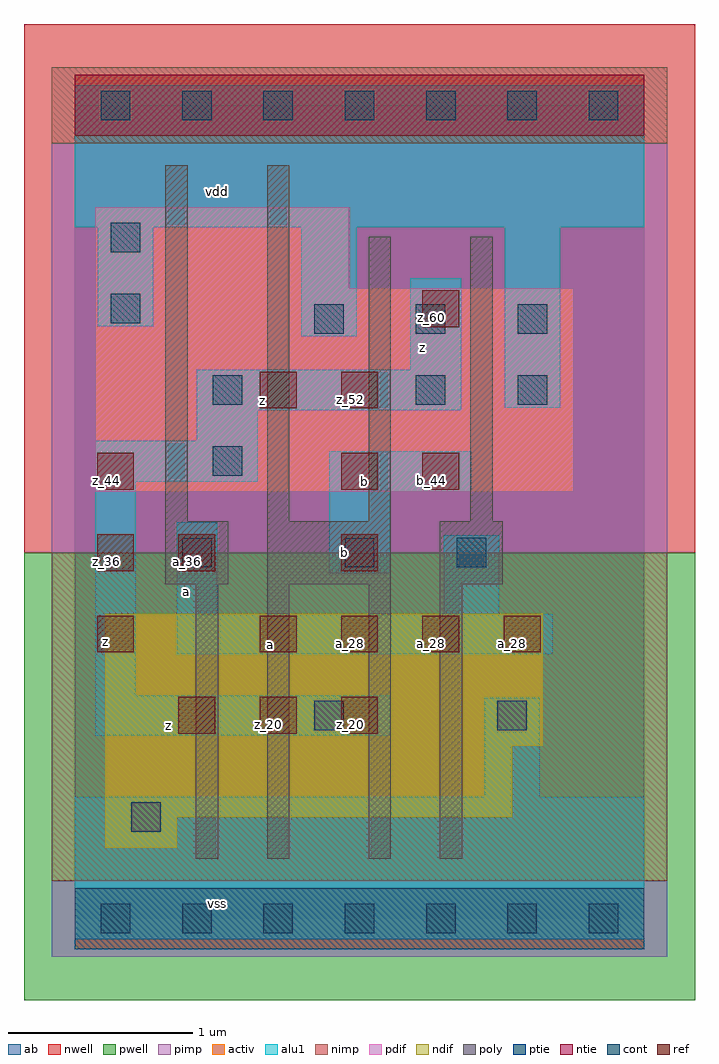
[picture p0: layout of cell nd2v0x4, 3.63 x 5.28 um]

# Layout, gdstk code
import gdstk
lib = gdstk.Library(unit=1e-6, precision=2.5e-09)
def R(c, l, rs):  # rectangles x0, y0, x1, y1
    for r in rs: c.add(gdstk.rectangle(r[:2], r[2:], *l))
def A(c, l, x, y, w, h, nx, ny, dx, dy):  # array of equal rectangles
    R(c, l, [(x+i*dx, y+j*dy, x+i*dx+w, y+j*dy+h) for i in range(nx) for j in range(ny)])
ndif = (3, 0)
pdif = (4, 0)
ntie = (5, 0)
ptie = (6, 0)
ref = (24, 0)
cont = (25, 0)
pwell = (41, 0)
nwell = (42, 0)
activ = (43, 0)
pimp = (44, 0)
nimp = (45, 0)
poly = (46, 0)
alu1 = (49, 0)
ab = (63, 0)

nd2v0x4 = lib.new_cell('nd2v0x4')
R(nd2v0x4, ndif, [(0.165,0.385,0.55,0.55), (0.165,0.55,2.365,0.935), (0.165,0.935,2.53,1.65)])
R(nd2v0x4, pdif, [(0.11,2.31,2.695,3.41), (0.11,3.41,1.485,3.85)])
R(nd2v0x4, ntie, [(0,4.235,3.08,4.565)])
R(nd2v0x4, ptie, [(0,-0.165,3.08,0.165)])
A(nd2v0x4, ref, 0.56, 1, 0.2, 0.2, 3, 1, 0.44, 0)
A(nd2v0x4, ref, 0.12, 1.44, 0.2, 0.2, 1, 3, 0, 0.44)
A(nd2v0x4, ref, 1, 1.44, 0.2, 0.2, 4, 1, 0.44, 0)
A(nd2v0x4, ref, 1.44, 1.88, 0.2, 0.2, 1, 3, 0, 0.44)
R(nd2v0x4, ref, [(0.56,1.88,0.76,2.08), (1.88,2.32,2.08,2.52), (1,2.76,1.2,2.96), (1.88,3.2,2.08,3.4)])
A(nd2v0x4, cont, 0.14, -0.08, 0.16, 0.16, 7, 2, 0.44, 4.4)
A(nd2v0x4, cont, 1.295, 3.165, 0.16, 0.16, 3, 1, 0.55, 0)
R(nd2v0x4, cont, [(0.305,0.47,0.465,0.63), (1.295,1.02,1.455,1.18), (2.285,1.02,2.445,1.18), (0.58,1.9,0.74,2.06), (1.46,1.9,1.62,2.06), (2.065,1.9,2.225,2.06), (0.745,2.395,0.905,2.555), (0.745,2.78,0.905,2.94), (1.845,2.78,2.005,2.94), (2.395,2.78,2.555,2.94), (0.195,3.22,0.355,3.38), (0.195,3.605,0.355,3.765)])
R(nd2v0x4, pwell, [(-0.275,-0.44,3.355,1.98)])
R(nd2v0x4, nwell, [(-0.275,1.98,3.355,4.84)])
R(nd2v0x4, activ, [(0,-0.165,3.08,0.165), (0.165,0.385,0.55,0.55), (0.165,0.55,2.365,0.935), (0.165,0.935,2.53,1.65), (0.11,2.31,2.695,3.41), (0.11,3.41,1.485,3.85), (0,4.235,3.08,4.565)])
R(nd2v0x4, pimp, [(-0.125,-0.205,3.205,0.205), (-0.125,1.98,3.205,4.195)])
R(nd2v0x4, nimp, [(-0.125,0.205,3.205,1.98), (-0.125,4.195,3.205,4.605)])
R(nd2v0x4, poly, [(0.655,0.325,0.775,1.81), (1.04,0.325,1.16,1.81), (1.59,0.325,1.71,1.81), (1.975,0.325,2.095,1.81), (0.49,1.81,0.83,2.15), (1.04,1.81,1.71,2.15), (1.975,1.81,2.315,2.15), (0.49,2.15,0.61,4.075), (1.04,2.15,1.16,4.075), (1.59,2.15,1.71,3.69), (2.14,2.15,2.26,3.69)])
R(nd2v0x4, alu1, [(0,-0.11,3.08,0.66), (2.215,0.66,2.515,1.195), (0.11,0.99,1.705,1.21), (0.11,1.21,0.33,2.365), (0.55,1.43,2.585,1.65), (0.55,1.65,0.77,2.145), (1.995,1.65,2.295,2.075), (1.375,1.87,1.705,2.31), (1.375,2.31,2.145,2.53), (0.11,2.365,0.99,2.585), (0.66,2.585,0.99,2.75), (0.66,2.75,2.09,2.97), (2.325,2.765,2.625,3.74), (1.815,2.97,2.09,3.465), (1.225,3.15,1.525,3.74), (0.125,3.205,0.425,3.74), (0,3.74,3.08,4.51)])
R(nd2v0x4, ab, [(0,0,3.08,4.4)])
nd2v0x4.add(gdstk.Label('vss', (0.77,0.0825), layer=49, texttype=0))
nd2v0x4.add(gdstk.Label('z', (0.5075,1.045), layer=49, texttype=0))
nd2v0x4.add(gdstk.Label('a', (1.0575,1.485), layer=49, texttype=0))
nd2v0x4.add(gdstk.Label('b', (1.4575,1.98), layer=49, texttype=0))
nd2v0x4.add(gdstk.Label('a', (0.605,1.7725), layer=49, texttype=0))
nd2v0x4.add(gdstk.Label('b', (1.5675,2.365), layer=49, texttype=0))
nd2v0x4.add(gdstk.Label('z', (0.165,1.4975), layer=49, texttype=0))
nd2v0x4.add(gdstk.Label('z', (1.0175,2.805), layer=49, texttype=0))
nd2v0x4.add(gdstk.Label('z', (1.8825,3.0925), layer=49, texttype=0))
nd2v0x4.add(gdstk.Label('vdd', (0.77,3.9325), layer=49, texttype=0))
nd2v0x4.add(gdstk.Label('z_20', (0.61,1.05), layer=24, texttype=0))
nd2v0x4.add(gdstk.Label('a_36', (0.61,1.93), layer=24, texttype=0))
nd2v0x4.add(gdstk.Label('z_20', (1.05,1.05), layer=24, texttype=0))
nd2v0x4.add(gdstk.Label('a_28', (1.05,1.49), layer=24, texttype=0))
nd2v0x4.add(gdstk.Label('z_52', (1.05,2.81), layer=24, texttype=0))
nd2v0x4.add(gdstk.Label('z_20', (1.49,1.05), layer=24, texttype=0))
nd2v0x4.add(gdstk.Label('a_28', (1.49,1.49), layer=24, texttype=0))
nd2v0x4.add(gdstk.Label('b_36', (1.49,1.93), layer=24, texttype=0))
nd2v0x4.add(gdstk.Label('b_44', (1.49,2.37), layer=24, texttype=0))
nd2v0x4.add(gdstk.Label('z_52', (1.49,2.81), layer=24, texttype=0))
nd2v0x4.add(gdstk.Label('a_28', (1.93,1.49), layer=24, texttype=0))
nd2v0x4.add(gdstk.Label('b_44', (1.93,2.37), layer=24, texttype=0))
nd2v0x4.add(gdstk.Label('z_60', (1.93,3.25), layer=24, texttype=0))
nd2v0x4.add(gdstk.Label('z_28', (0.17,1.49), layer=24, texttype=0))
nd2v0x4.add(gdstk.Label('z_36', (0.17,1.93), layer=24, texttype=0))
nd2v0x4.add(gdstk.Label('z_44', (0.17,2.37), layer=24, texttype=0))
nd2v0x4.add(gdstk.Label('a_28', (2.37,1.49), layer=24, texttype=0))

lib.write_gds('nd2v0x4.gds')
